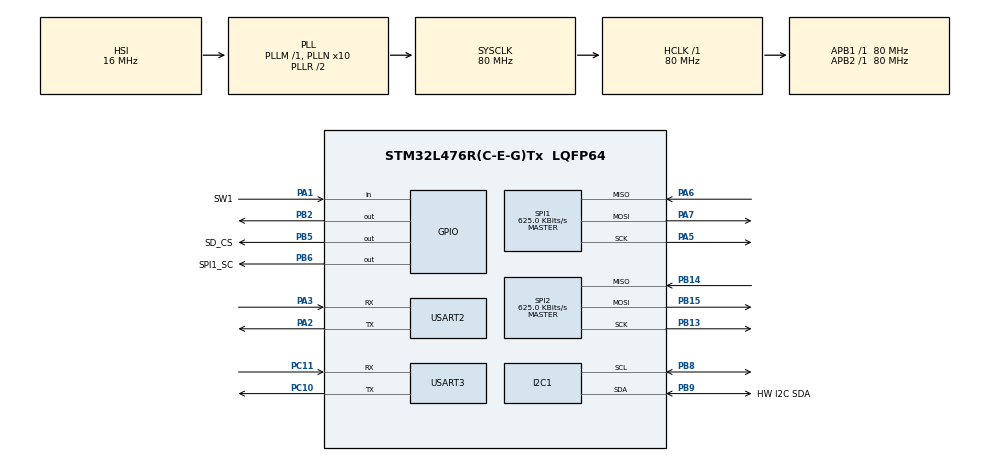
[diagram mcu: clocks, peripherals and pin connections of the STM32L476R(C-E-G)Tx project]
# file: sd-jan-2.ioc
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FATFS._MAX_SS=1024
FATFS._USE_LFN=1
I2C1.Timing=0x10909CEC
Mcu.Family=STM32L4
Mcu.Name=STM32L476R(C-E-G)Tx
Mcu.Package=LQFP64
NVIC.PriorityGroup=NVIC_PRIORITYGROUP_4
NVIC.TIM8_CC_IRQn=true\:5\:0\:true\:false\:true\:true\:true\:true
PA1.GPIO_Label=SW1
PA1.Signal=GPIO_Input
PA13\ (JTMS-SWDIO).Mode=Serial_Wire
PA13\ (JTMS-SWDIO).Signal=SYS_JTMS-SWDIO
PA14\ (JTCK-SWCLK).Mode=Serial_Wire
PA14\ (JTCK-SWCLK).Signal=SYS_JTCK-SWCLK
PA2.Mode=Asynchronous
PA2.Signal=USART2_TX
PA3.Mode=Asynchronous
PA3.Signal=USART2_RX
PA5.GPIO_PuPd=GPIO_PULLUP
PA5.GPIO_Speed=GPIO_SPEED_FREQ_VERY_HIGH
PA5.Mode=Full_Duplex_Master
PA5.Signal=SPI1_SCK
PA6.GPIO_Mode=GPIO_MODE_AF_PP
PA6.GPIO_PuPd=GPIO_PULLUP
PA6.GPIO_Speed=GPIO_SPEED_FREQ_VERY_HIGH
PA6.Mode=Full_Duplex_Master
PA6.Signal=SPI1_MISO
PA7.GPIO_PuPd=GPIO_PULLUP
PA7.GPIO_Speed=GPIO_SPEED_FREQ_VERY_HIGH
PA7.Mode=Full_Duplex_Master
PA7.Signal=SPI1_MOSI
PB13.Mode=Full_Duplex_Master
PB13.Signal=SPI2_SCK
PB14.Mode=Full_Duplex_Master
PB14.Signal=SPI2_MISO
PB15.Mode=Full_Duplex_Master
PB15.Signal=SPI2_MOSI
PB2.Signal=GPIO_Output
PB5.GPIO_Label=SD_CS
PB5.GPIO_ModeDefaultOutputPP=GPIO_MODE_OUTPUT_PP
PB5.GPIO_PuPd=GPIO_PULLUP
PB5.GPIO_Speed=GPIO_SPEED_FREQ_LOW
PB5.PinState=GPIO_PIN_RESET
PB5.Signal=GPIO_Output
PB6.GPIO_Label=SPI1_SC
PB6.GPIO_PuPd=GPIO_PULLUP
PB6.Signal=GPIO_Output
PB8.GPIO_FM8=I2C_FASTMODEPLUS_PB8
PB8.GPIO_Pu=GPIO_PULLUP
PB8.Mode=I2C
PB8.Signal=I2C1_SCL
PB9.GPIO_FM9=I2C_FASTMODEPLUS_PB9
PB9.GPIO_Label=HW I2C SDA
PB9.GPIO_Mode=GPIO_MODE_AF_OD
PB9.GPIO_Pu=GPIO_PULLUP
PB9.Mode=I2C
PB9.Signal=I2C1_SDA
PC10.Mode=Asynchronous
PC10.Signal=USART3_TX
PC11.Mode=Asynchronous
PC11.Signal=USART3_RX
PC14-OSC32_IN\ (PC14).Mode=LSE-External-Clock-Source
PC14-OSC32_IN\ (PC14).Signal=RCC_OSC32_IN
PH0-OSC_IN\ (PH0).Mode=HSE-External-Oscillator
PH0-OSC_IN\ (PH0).Signal=RCC_OSC_IN
PH1-OSC_OUT\ (PH1).Mode=HSE-External-Oscillator
PH1-OSC_OUT\ (PH1).Signal=RCC_OSC_OUT
ProjectManager.HeapSize=0x200
ProjectManager.StackSize=0x400
ProjectManager.TargetToolchain=STM32CubeIDE
RCC.ADCFreq_Value=64000000
RCC.AHBFreq_Value=80000000
RCC.APB1Freq_Value=80000000
RCC.APB1TimFreq_Value=80000000
RCC.APB2Freq_Value=80000000
RCC.APB2TimFreq_Value=80000000
RCC.CortexFreq_Value=80000000
RCC.FLatency-AdvancedSettings=FLASH_LATENCY_0
RCC.HCLKFreq_Value=80000000
RCC.HSE_VALUE=48000000
RCC.HSI_VALUE=16000000
RCC.LSE_VALUE=32768
RCC.MSI_VALUE=4000000
RCC.PLLN=10
RCC.PLLSourceVirtual=RCC_PLLSOURCE_HSI
RCC.PREFETCH_ENABLE=1
RCC.SYSCLKFreq_VALUE=80000000
RCC.SYSCLKSource=RCC_SYSCLKSOURCE_PLLCLK
RCC.USBFreq_Value=64000000
RCC.VCOOutputFreq_Value=160000000
SPI1.BaudRatePrescaler=SPI_BAUDRATEPRESCALER_128
SPI1.CLKPhase=SPI_PHASE_1EDGE
SPI1.CLKPolarity=SPI_POLARITY_LOW
SPI1.CRCCalculation=SPI_CRCCALCULATION_DISABLE
SPI1.CalculateBaudRate=625.0 KBits/s
SPI1.DataSize=SPI_DATASIZE_8BIT
SPI1.Direction=SPI_DIRECTION_2LINES
SPI1.Mode=SPI_MODE_MASTER
SPI1.NSSPMode=SPI_NSS_PULSE_ENABLE
SPI1.TIMode=SPI_TIMODE_DISABLE
SPI1.VirtualType=VM_MASTER
SPI2.BaudRatePrescaler=SPI_BAUDRATEPRESCALER_128
SPI2.CalculateBaudRate=625.0 KBits/s
SPI2.DataSize=SPI_DATASIZE_8BIT
SPI2.Direction=SPI_DIRECTION_2LINES
SPI2.Mode=SPI_MODE_MASTER
SPI2.VirtualType=VM_MASTER
TIM5.Prescaler=800
TIM8.Channel-Output\ Compare3\ No\ Output=TIM_CHANNEL_3
TIM8.ClockDivision=TIM_CLOCKDIVISION_DIV4
TIM8.Prescaler=15
USART2.VirtualMode-Asynchronous=VM_ASYNC
USART3.VirtualMode-Asynchronous=VM_ASYNC
VP_FATFS_VS_Generic.Mode=User_defined
VP_RTC_VS_RTC_Activate.Mode=RTC_Enabled
VP_TIM5_VS_ClockSourceINT.Mode=Internal
VP_TIM8_VS_no_output3.Mode=Output Compare3 No Output
board=NUCLEO-L476RG

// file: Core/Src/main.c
/* USER CODE BEGIN Header */
/**
  ******************************************************************************
  * @file           : main.c
  * @brief          : Main program body
  ******************************************************************************
  * @attention
  *
  * <h2><center>&copy; Copyright (c) 2021 STMicroelectronics.
  * All rights reserved.</center></h2>
  *
  * This software component is licensed by ST under BSD 3-Clause license,
  * the "License"; You may not use this file except in compliance with the
  * License. You may obtain a copy of the License at:
  *                        opensource.org/licenses/BSD-3-Clause
  *
  ******************************************************************************
  */
/* USER CODE END Header */
#include "main.h"
#include "fatfs.h"

/* USER CODE BEGIN Includes */

#ifdef HAL_RTC_MODULE_ENABLED
#include <stdio.h>
#include <inttypes.h>
#include <string.h>
#endif

void startApplication();
/* USER CODE END Includes */

/* USER CODE BEGIN PD */
#define portNVIC_SYSTICK_CTRL_REG             ( *( ( volatile uint32_t * ) 0xe000e010 ) )
/* USER CODE END PD */

I2C_HandleTypeDef hi2c1;

RTC_HandleTypeDef hrtc;

SPI_HandleTypeDef hspi1;
SPI_HandleTypeDef hspi2;

TIM_HandleTypeDef htim5;
TIM_HandleTypeDef htim8;

UART_HandleTypeDef huart2;
UART_HandleTypeDef huart3;

void SystemClock_Config(void);
static void MX_GPIO_Init(void);
static void MX_USART3_UART_Init(void);
static void MX_RTC_Init(void);
static void MX_TIM8_Init(void);
static void MX_TIM5_Init(void);
static void MX_USART2_UART_Init(void);
static void MX_SPI2_Init(void);
static void MX_SPI1_Init(void);
static void MX_I2C1_Init(void);

int main(void)
{

  /* MCU Configuration--------------------------------------------------------*/

  /* Reset of all peripherals, Initializes the Flash interface and the Systick. */
  HAL_Init();

  /* Configure the system clock */
  SystemClock_Config();

  /* USER CODE BEGIN SysInit */
  portNVIC_SYSTICK_CTRL_REG = 0; // Systick interrupt causes Hard Fault without OS running.
     // will be reenabled by OS
  /* USER CODE END SysInit */

  /* Initialize all configured peripherals */
  MX_GPIO_Init();
  MX_USART3_UART_Init();
  MX_RTC_Init();
  MX_TIM8_Init();
  MX_TIM5_Init();
  MX_USART2_UART_Init();
  MX_FATFS_Init();
  MX_SPI2_Init();
  MX_SPI1_Init();
  MX_I2C1_Init();
  /* USER CODE BEGIN 2 */
#if defined HAL_RTC_MODULE_ENABLED
  {
   const char* date = __DATE__;
   const char* time = __TIME__;
   /* Date format: MMM dd yyyy
    * eg Jul 22 2021
    *
    * with:  MMM: Three Letters for month
    *        dd two numbers for day (01 ... 31)
    *        yyyy four number for year
    */
   char     month[4];
   uint32_t day   = 0;
   uint32_t year  = 0;
   uint8_t monthNum = 0;
   sscanf(date,"%3s %" SCNu32 "%" SCNu32, month, &day, &year);
   if (0 == strcmp(month, "Jan") ) monthNum = RTC_MONTH_JANUARY;
   else if (0 == strcmp(month, "Feb") ) monthNum = RTC_MONTH_FEBRUARY;
   else if (0 == strcmp(month, "Mar") ) monthNum = RTC_MONTH_MARCH;
   else if (0 == strcmp(month, "Apr") ) monthNum = RTC_MONTH_APRIL;
   else if (0 == strcmp(month, "May") ) monthNum = RTC_MONTH_MAY;
   else if (0 == strcmp(month, "Jun") ) monthNum = RTC_MONTH_JUNE;
   else if (0 == strcmp(month, "Jul") ) monthNum = RTC_MONTH_JULY;
   else if (0 == strcmp(month, "Aug") ) monthNum = RTC_MONTH_AUGUST;
   else if (0 == strcmp(month, "Sep") ) monthNum = RTC_MONTH_SEPTEMBER;
   else if (0 == strcmp(month, "Oct") ) monthNum = 10;
   else if (0 == strcmp(month, "Nov") ) monthNum = 11;
   else if (0 == strcmp(month, "Dec") ) monthNum = 12;
   else monthNum = RTC_MONTH_DECEMBER; // error!!!

   RTC_DateTypeDef rtcDate;
   rtcDate.WeekDay =  RTC_WEEKDAY_MONDAY;  // We don:t know it!
   rtcDate.Month   = monthNum;
   rtcDate.Date    = day;
   rtcDate.Year    = year%100;   // must be between 0 .. 99
   HAL_RTC_SetDate(&hrtc, &rtcDate, RTC_FORMAT_BIN );

   /* Time format: hh:mm:ss
    * eg 11:28:01
    *
    * with:  hh: two numbers for hours
    *        mm: two numbers for minutes
    *        ss: two numbers for seconds
    */
   uint32_t hours   = 0;
   uint32_t minutes = 0;
   uint32_t seconds = 0;
   sscanf(time,"%" SCNu32 ":%" SCNu32 ":%" SCNu32, &hours, &minutes, &seconds);
   RTC_TimeTypeDef rtcTime;

   rtcTime.Hours          = hours;
   rtcTime.Minutes        = minutes;
   rtcTime.Seconds        = seconds;
   rtcTime.TimeFormat     = RTC_HOURFORMAT12_AM;
   rtcTime.DayLightSaving = RTC_DAYLIGHTSAVING_NONE;
   rtcTime.StoreOperation = RTC_STOREOPERATION_RESET;

   HAL_RTC_SetTime(&hrtc, &rtcTime, RTC_FORMAT_BIN );
  }
#endif
  startApplication();
  /* USER CODE END 2 */

  /* Infinite loop */
  while (1)
  {

  }
}

void SystemClock_Config(void)
{
  RCC_OscInitTypeDef RCC_OscInitStruct = {0};
  RCC_ClkInitTypeDef RCC_ClkInitStruct = {0};

  /** Configure the main internal regulator output voltage
  */
  if (HAL_PWREx_ControlVoltageScaling(PWR_REGULATOR_VOLTAGE_SCALE1) != HAL_OK)
  {
    Error_Handler();
  }

  /** Initializes the RCC Oscillators according to the specified parameters
  * in the RCC_OscInitTypeDef structure.
  */
  RCC_OscInitStruct.OscillatorType = RCC_OSCILLATORTYPE_HSI|RCC_OSCILLATORTYPE_LSI;
  RCC_OscInitStruct.HSIState = RCC_HSI_ON;
  RCC_OscInitStruct.HSICalibrationValue = RCC_HSICALIBRATION_DEFAULT;
  RCC_OscInitStruct.LSIState = RCC_LSI_ON;
  RCC_OscInitStruct.PLL.PLLState = RCC_PLL_ON;
  RCC_OscInitStruct.PLL.PLLSource = RCC_PLLSOURCE_HSI;
  RCC_OscInitStruct.PLL.PLLM = 1;
  RCC_OscInitStruct.PLL.PLLN = 10;
  RCC_OscInitStruct.PLL.PLLP = RCC_PLLP_DIV7;
  RCC_OscInitStruct.PLL.PLLQ = RCC_PLLQ_DIV2;
  RCC_OscInitStruct.PLL.PLLR = RCC_PLLR_DIV2;
  if (HAL_RCC_OscConfig(&RCC_OscInitStruct) != HAL_OK)
  {
    Error_Handler();
  }

  /** Initializes the CPU, AHB and APB buses clocks
  */
  RCC_ClkInitStruct.ClockType = RCC_CLOCKTYPE_HCLK|RCC_CLOCKTYPE_SYSCLK
                              |RCC_CLOCKTYPE_PCLK1|RCC_CLOCKTYPE_PCLK2;
  RCC_ClkInitStruct.SYSCLKSource = RCC_SYSCLKSOURCE_PLLCLK;
  RCC_ClkInitStruct.AHBCLKDivider = RCC_SYSCLK_DIV1;
  RCC_ClkInitStruct.APB1CLKDivider = RCC_HCLK_DIV1;
  RCC_ClkInitStruct.APB2CLKDivider = RCC_HCLK_DIV1;

  if (HAL_RCC_ClockConfig(&RCC_ClkInitStruct, FLASH_LATENCY_4) != HAL_OK)
  {
    Error_Handler();
  }
}

static void MX_I2C1_Init(void)
{

  hi2c1.Instance = I2C1;
  hi2c1.Init.Timing = 0x10909CEC;
  hi2c1.Init.OwnAddress1 = 0;
  hi2c1.Init.AddressingMode = I2C_ADDRESSINGMODE_7BIT;
  hi2c1.Init.DualAddressMode = I2C_DUALADDRESS_DISABLE;
  hi2c1.Init.OwnAddress2 = 0;
  hi2c1.Init.OwnAddress2Masks = I2C_OA2_NOMASK;
  hi2c1.Init.GeneralCallMode = I2C_GENERALCALL_DISABLE;
  hi2c1.Init.NoStretchMode = I2C_NOSTRETCH_DISABLE;
  if (HAL_I2C_Init(&hi2c1) != HAL_OK)
  {
    Error_Handler();
  }

  /** Configure Analogue filter
  */
  if (HAL_I2CEx_ConfigAnalogFilter(&hi2c1, I2C_ANALOGFILTER_ENABLE) != HAL_OK)
  {
    Error_Handler();
  }

  /** Configure Digital filter
  */
  if (HAL_I2CEx_ConfigDigitalFilter(&hi2c1, 0) != HAL_OK)
  {
    Error_Handler();
  }

}

static void MX_RTC_Init(void)
{

  /** Initialize RTC Only
  */
  hrtc.Instance = RTC;
  hrtc.Init.HourFormat = RTC_HOURFORMAT_24;
  hrtc.Init.AsynchPrediv = 127;
  hrtc.Init.SynchPrediv = 255;
  hrtc.Init.OutPut = RTC_OUTPUT_DISABLE;
  hrtc.Init.OutPutRemap = RTC_OUTPUT_REMAP_NONE;
  hrtc.Init.OutPutPolarity = RTC_OUTPUT_POLARITY_HIGH;
  hrtc.Init.OutPutType = RTC_OUTPUT_TYPE_OPENDRAIN;
  if (HAL_RTC_Init(&hrtc) != HAL_OK)
  {
    Error_Handler();
  }

}

static void MX_SPI1_Init(void)
{

  /* SPI1 parameter configuration*/
  hspi1.Instance = SPI1;
  hspi1.Init.Mode = SPI_MODE_MASTER;
  hspi1.Init.Direction = SPI_DIRECTION_2LINES;
  hspi1.Init.DataSize = SPI_DATASIZE_8BIT;
  hspi1.Init.CLKPolarity = SPI_POLARITY_LOW;
  hspi1.Init.CLKPhase = SPI_PHASE_1EDGE;
  hspi1.Init.NSS = SPI_NSS_SOFT;
  hspi1.Init.BaudRatePrescaler = SPI_BAUDRATEPRESCALER_128;
  hspi1.Init.FirstBit = SPI_FIRSTBIT_MSB;
  hspi1.Init.TIMode = SPI_TIMODE_DISABLE;
  hspi1.Init.CRCCalculation = SPI_CRCCALCULATION_DISABLE;
  hspi1.Init.CRCPolynomial = 7;
  hspi1.Init.CRCLength = SPI_CRC_LENGTH_DATASIZE;
  hspi1.Init.NSSPMode = SPI_NSS_PULSE_ENABLE;
  if (HAL_SPI_Init(&hspi1) != HAL_OK)
  {
    Error_Handler();
  }

}

static void MX_SPI2_Init(void)
{

  /* SPI2 parameter configuration*/
  hspi2.Instance = SPI2;
  hspi2.Init.Mode = SPI_MODE_MASTER;
  hspi2.Init.Direction = SPI_DIRECTION_2LINES;
  hspi2.Init.DataSize = SPI_DATASIZE_8BIT;
  hspi2.Init.CLKPolarity = SPI_POLARITY_LOW;
  hspi2.Init.CLKPhase = SPI_PHASE_1EDGE;
  hspi2.Init.NSS = SPI_NSS_SOFT;
  hspi2.Init.BaudRatePrescaler = SPI_BAUDRATEPRESCALER_128;
  hspi2.Init.FirstBit = SPI_FIRSTBIT_MSB;
  hspi2.Init.TIMode = SPI_TIMODE_DISABLE;
  hspi2.Init.CRCCalculation = SPI_CRCCALCULATION_DISABLE;
  hspi2.Init.CRCPolynomial = 7;
  hspi2.Init.CRCLength = SPI_CRC_LENGTH_DATASIZE;
  hspi2.Init.NSSPMode = SPI_NSS_PULSE_ENABLE;
  if (HAL_SPI_Init(&hspi2) != HAL_OK)
  {
    Error_Handler();
  }

}

static void MX_TIM5_Init(void)
{

  TIM_ClockConfigTypeDef sClockSourceConfig = {0};
  TIM_MasterConfigTypeDef sMasterConfig = {0};

  htim5.Instance = TIM5;
  htim5.Init.Prescaler = 800;
  htim5.Init.CounterMode = TIM_COUNTERMODE_UP;
  htim5.Init.Period = 4294967295;
  htim5.Init.ClockDivision = TIM_CLOCKDIVISION_DIV1;
  htim5.Init.AutoReloadPreload = TIM_AUTORELOAD_PRELOAD_DISABLE;
  if (HAL_TIM_Base_Init(&htim5) != HAL_OK)
  {
    Error_Handler();
  }
  sClockSourceConfig.ClockSource = TIM_CLOCKSOURCE_INTERNAL;
  if (HAL_TIM_ConfigClockSource(&htim5, &sClockSourceConfig) != HAL_OK)
  {
    Error_Handler();
  }
  sMasterConfig.MasterOutputTrigger = TIM_TRGO_RESET;
  sMasterConfig.MasterSlaveMode = TIM_MASTERSLAVEMODE_DISABLE;
  if (HAL_TIMEx_MasterConfigSynchronization(&htim5, &sMasterConfig) != HAL_OK)
  {
    Error_Handler();
  }

}

static void MX_TIM8_Init(void)
{

  TIM_MasterConfigTypeDef sMasterConfig = {0};
  TIM_OC_InitTypeDef sConfigOC = {0};
  TIM_BreakDeadTimeConfigTypeDef sBreakDeadTimeConfig = {0};

  htim8.Instance = TIM8;
  htim8.Init.Prescaler = 15;
  htim8.Init.CounterMode = TIM_COUNTERMODE_UP;
  htim8.Init.Period = 65535;
  htim8.Init.ClockDivision = TIM_CLOCKDIVISION_DIV4;
  htim8.Init.RepetitionCounter = 0;
  htim8.Init.AutoReloadPreload = TIM_AUTORELOAD_PRELOAD_DISABLE;
  if (HAL_TIM_OC_Init(&htim8) != HAL_OK)
  {
    Error_Handler();
  }
  sMasterConfig.MasterOutputTrigger = TIM_TRGO_RESET;
  sMasterConfig.MasterOutputTrigger2 = TIM_TRGO2_RESET;
  sMasterConfig.MasterSlaveMode = TIM_MASTERSLAVEMODE_DISABLE;
  if (HAL_TIMEx_MasterConfigSynchronization(&htim8, &sMasterConfig) != HAL_OK)
  {
    Error_Handler();
  }
  sConfigOC.OCMode = TIM_OCMODE_TIMING;
  sConfigOC.Pulse = 0;
  sConfigOC.OCPolarity = TIM_OCPOLARITY_HIGH;
  sConfigOC.OCNPolarity = TIM_OCNPOLARITY_HIGH;
  sConfigOC.OCFastMode = TIM_OCFAST_DISABLE;
  sConfigOC.OCIdleState = TIM_OCIDLESTATE_RESET;
  sConfigOC.OCNIdleState = TIM_OCNIDLESTATE_RESET;
  if (HAL_TIM_OC_ConfigChannel(&htim8, &sConfigOC, TIM_CHANNEL_3) != HAL_OK)
  {
    Error_Handler();
  }
  sBreakDeadTimeConfig.OffStateRunMode = TIM_OSSR_DISABLE;
  sBreakDeadTimeConfig.OffStateIDLEMode = TIM_OSSI_DISABLE;
  sBreakDeadTimeConfig.LockLevel = TIM_LOCKLEVEL_OFF;
  sBreakDeadTimeConfig.DeadTime = 0;
  sBreakDeadTimeConfig.BreakState = TIM_BREAK_DISABLE;
  sBreakDeadTimeConfig.BreakPolarity = TIM_BREAKPOLARITY_HIGH;
  sBreakDeadTimeConfig.BreakFilter = 0;
  sBreakDeadTimeConfig.Break2State = TIM_BREAK2_DISABLE;
  sBreakDeadTimeConfig.Break2Polarity = TIM_BREAK2POLARITY_HIGH;
  sBreakDeadTimeConfig.Break2Filter = 0;
  sBreakDeadTimeConfig.AutomaticOutput = TIM_AUTOMATICOUTPUT_DISABLE;
  if (HAL_TIMEx_ConfigBreakDeadTime(&htim8, &sBreakDeadTimeConfig) != HAL_OK)
  {
    Error_Handler();
  }

}

static void MX_USART2_UART_Init(void)
{

  huart2.Instance = USART2;
  huart2.Init.BaudRate = 115200;
  huart2.Init.WordLength = UART_WORDLENGTH_8B;
  huart2.Init.StopBits = UART_STOPBITS_1;
  huart2.Init.Parity = UART_PARITY_NONE;
  huart2.Init.Mode = UART_MODE_TX_RX;
  huart2.Init.HwFlowCtl = UART_HWCONTROL_NONE;
  huart2.Init.OverSampling = UART_OVERSAMPLING_16;
  huart2.Init.OneBitSampling = UART_ONE_BIT_SAMPLE_DISABLE;
  huart2.AdvancedInit.AdvFeatureInit = UART_ADVFEATURE_NO_INIT;
  if (HAL_UART_Init(&huart2) != HAL_OK)
  {
    Error_Handler();
  }

}

static void MX_USART3_UART_Init(void)
{

  huart3.Instance = USART3;
  huart3.Init.BaudRate = 115200;
  huart3.Init.WordLength = UART_WORDLENGTH_8B;
  huart3.Init.StopBits = UART_STOPBITS_1;
  huart3.Init.Parity = UART_PARITY_NONE;
  huart3.Init.Mode = UART_MODE_TX_RX;
  huart3.Init.HwFlowCtl = UART_HWCONTROL_NONE;
  huart3.Init.OverSampling = UART_OVERSAMPLING_16;
  huart3.Init.OneBitSampling = UART_ONE_BIT_SAMPLE_DISABLE;
  huart3.AdvancedInit.AdvFeatureInit = UART_ADVFEATURE_NO_INIT;
  if (HAL_UART_Init(&huart3) != HAL_OK)
  {
    Error_Handler();
  }

}

static void MX_GPIO_Init(void)
{
  GPIO_InitTypeDef GPIO_InitStruct = {0};

  /* GPIO Ports Clock Enable */
  __HAL_RCC_GPIOC_CLK_ENABLE();
  __HAL_RCC_GPIOH_CLK_ENABLE();
  __HAL_RCC_GPIOA_CLK_ENABLE();
  __HAL_RCC_GPIOB_CLK_ENABLE();

  /*Configure GPIO pin Output Level */
  HAL_GPIO_WritePin(GPIOB, GPIO_PIN_2|SD_CS_Pin|SPI1_SC_Pin, GPIO_PIN_RESET);

  /*Configure GPIO pin : SW1_Pin */
  GPIO_InitStruct.Pin = SW1_Pin;
  GPIO_InitStruct.Mode = GPIO_MODE_INPUT;
  GPIO_InitStruct.Pull = GPIO_NOPULL;
  HAL_GPIO_Init(SW1_GPIO_Port, &GPIO_InitStruct);

  /*Configure GPIO pin : PB2 */
  GPIO_InitStruct.Pin = GPIO_PIN_2;
  GPIO_InitStruct.Mode = GPIO_MODE_OUTPUT_PP;
  GPIO_InitStruct.Pull = GPIO_NOPULL;
  GPIO_InitStruct.Speed = GPIO_SPEED_FREQ_LOW;
  HAL_GPIO_Init(GPIOB, &GPIO_InitStruct);

  /*Configure GPIO pins : SD_CS_Pin SPI1_SC_Pin */
  GPIO_InitStruct.Pin = SD_CS_Pin|SPI1_SC_Pin;
  GPIO_InitStruct.Mode = GPIO_MODE_OUTPUT_PP;
  GPIO_InitStruct.Pull = GPIO_PULLUP;
  GPIO_InitStruct.Speed = GPIO_SPEED_FREQ_LOW;
  HAL_GPIO_Init(GPIOB, &GPIO_InitStruct);

}

void Error_Handler(void)
{
  __disable_irq();
  while (1)
  {
  }
}
